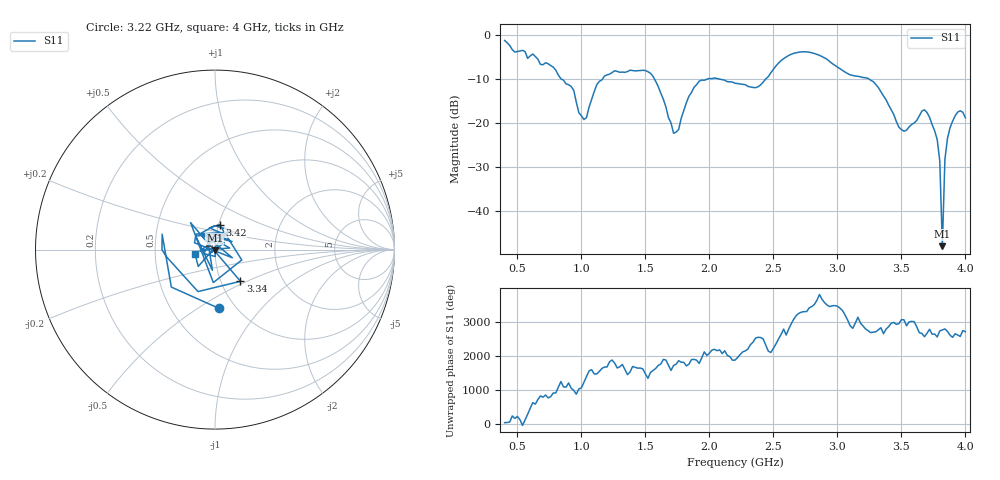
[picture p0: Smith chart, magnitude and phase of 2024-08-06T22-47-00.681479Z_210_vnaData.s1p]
!Created with skrf (http://scikit-rf.org).
# Hz S RI R 50.0
!freq ReS11 ImS11
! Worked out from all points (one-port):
!   181 points, 400 MHz to 4 GHz, reference 50 ohm
!   lowest |S11| = -48.1 dB at 3.82 GHz (marker M1), VSWR 1.01, Z = 49.8 - j0.351 ohm
!   |S11| at or under -10 dB: 1.571 GHz to 1.986 GHz (415 MHz wide, 23.3 % of centre); 2.076 GHz to 2.44 GHz (363.5 MHz wide, 16.1 % of centre); 3.246 GHz to end of sweep (the widest 3 of 4)
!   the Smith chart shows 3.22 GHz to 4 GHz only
!   S11 on the Smith chart (normalised r, x): 3.22 GHz: 0.84, -0.61; 3.34 GHz: 1.24, -0.46; 3.42 GHz: 1.01, +0.29; 4 GHz: 0.80, -0.04
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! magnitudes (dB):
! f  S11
! 400 MHz  -1.2
! 860 MHz  -10.3
! 940 MHz  -12.6
! 1.02 GHz  -19.2
! 1.12 GHz  -11.3
! 1.3 GHz  -8.5
! 1.54 GHz  -8.7
! 1.72 GHz  -22.4
! 1.76 GHz  -21.5
! 1.84 GHz  -13.9
! 1.92 GHz  -10.5
! 2.2 GHz  -11.0
! 2.38 GHz  -11.8
! 2.66 GHz  -4.1
! 3.1 GHz  -9.1
! 3.22 GHz  -9.7
! 3.34 GHz  -12.9
! 3.42 GHz  -17.0
! 3.48 GHz  -21.0
! 3.56 GHz  -20.9
! 3.68 GHz  -17.0
! 3.78 GHz  -23.8
! 3.8 GHz  -28.7
! 3.82 GHz  -48.1
! 3.84 GHz  -28.3
! 3.86 GHz  -23.5
! 3.94 GHz  -17.5
! 4 GHz  -18.8
